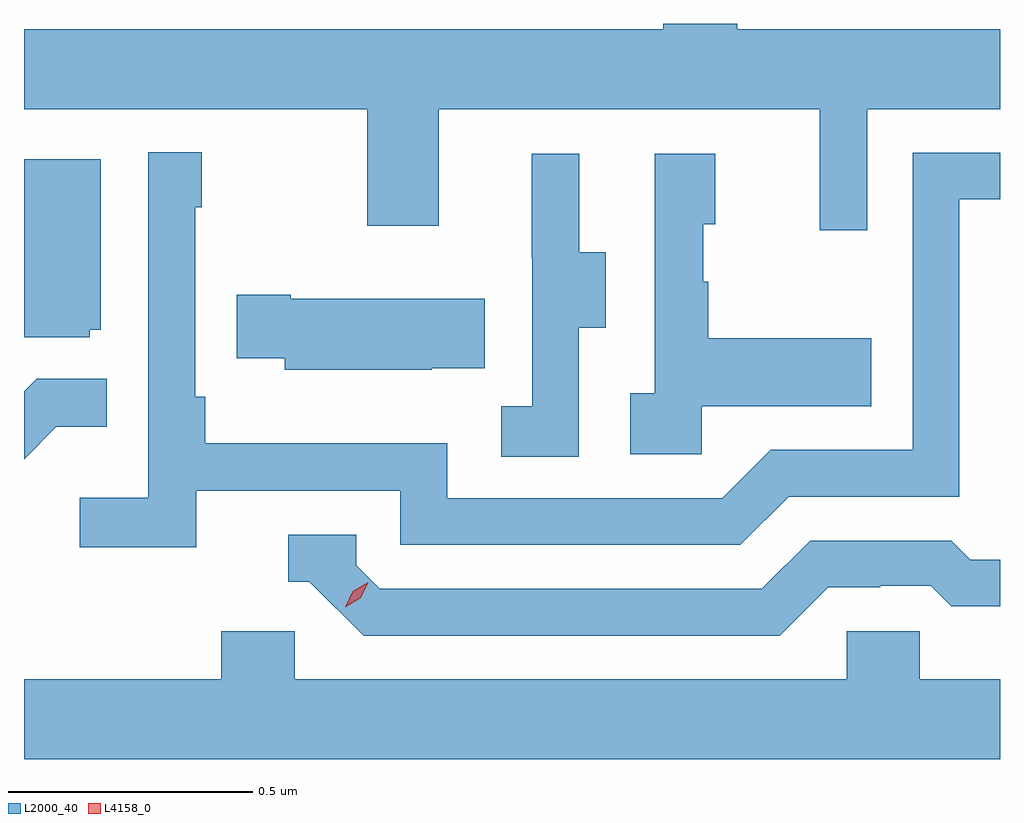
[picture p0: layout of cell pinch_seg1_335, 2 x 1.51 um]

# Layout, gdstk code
import gdstk
lib = gdstk.Library(unit=1e-6, precision=1e-09)
def P(c, l, *ps):  # polygons
    for p in ps: c.add(gdstk.Polygon(p, *l))
L2000_40 = (2000, 40)
L4158_0 = (4158, 0)

pinch_seg1_335 = lib.new_cell('pinch_seg1_335')
P(pinch_seg1_335, L2000_40, [(998.685,553.064),(998.957,553.064),(998.957,553.228),(998.419,553.228),(998.419,553.239),(998.267,553.239),(998.267,553.228),(996.957,553.228),(996.957,553.064),(997.66,553.064),(997.66,552.825),(997.807,552.825),(997.807,553.064),(998.588,553.064),(998.588,552.816),(998.685,552.816)],
  [(997.31,552.282),(997.728,552.282),(997.728,552.171),(998.425,552.171),(998.524,552.27),(998.874,552.27),(998.874,552.879),(998.957,552.879),(998.957,552.975),(998.778,552.975),(998.778,552.366),(998.487,552.366),(998.388,552.267),(997.824,552.267),(997.824,552.379),(997.328,552.379),(997.328,552.475),(997.308,552.475),(997.308,552.863),(997.321,552.863),(997.321,552.976),(997.212,552.976),(997.212,552.268),(997.071,552.268),(997.071,552.166),(997.31,552.166)],
  [(998.346,552.455),(998.693,552.455),(998.693,552.595),(998.359,552.595),(998.359,552.71),(998.349,552.71),(998.349,552.828),(998.374,552.828),(998.374,552.973),(998.25,552.973),(998.25,552.482),(998.199,552.482),(998.199,552.357),(998.346,552.357)],
  [(998.094,552.616),(998.149,552.616),(998.149,552.771),(998.095,552.771),(998.095,552.973),(997.997,552.973),(997.997,552.759),(997.998,552.759),(997.998,552.455),(997.935,552.455),(997.935,552.352),(998.094,552.352)],
  [(997.092,552.612),(997.114,552.612),(997.114,552.961),(996.957,552.961),(996.957,552.597),(997.092,552.597)],
  [(997.793,552.533),(997.901,552.533),(997.901,552.676),(997.504,552.676),(997.504,552.684),(997.393,552.684),(997.393,552.554),(997.491,552.554),(997.491,552.53),(997.793,552.53)],
  [(997.023,552.413),(997.127,552.413),(997.127,552.512),(996.983,552.512),(996.957,552.486),(996.957,552.347)],
  [(998.605,552.084),(998.712,552.084),(998.712,552.087),(998.815,552.087),(998.857,552.045),(998.957,552.045),(998.957,552.141),(998.896,552.141),(998.857,552.18),(998.568,552.18),(998.469,552.081),(997.686,552.081),(997.638,552.129),(997.638,552.192),(997.499,552.192),(997.499,552.096),(997.542,552.096),(997.653,551.985),(998.506,551.985)],
  [(998.957,551.896),(998.793,551.896),(998.793,551.994),(998.643,551.994),(998.643,551.896),(997.512,551.896),(997.512,551.994),(997.361,551.994),(997.361,551.896),(996.957,551.896),(996.957,551.732),(998.957,551.732)])
P(pinch_seg1_335, L4158_0, [(997.615,552.043),(997.615,552.043),(997.631,552.076),(997.662,552.095),(997.662,552.095),(997.662,552.094),(997.646,552.062),(997.615,552.043)])

lib.write_gds('pinch_seg1_335.gds')
